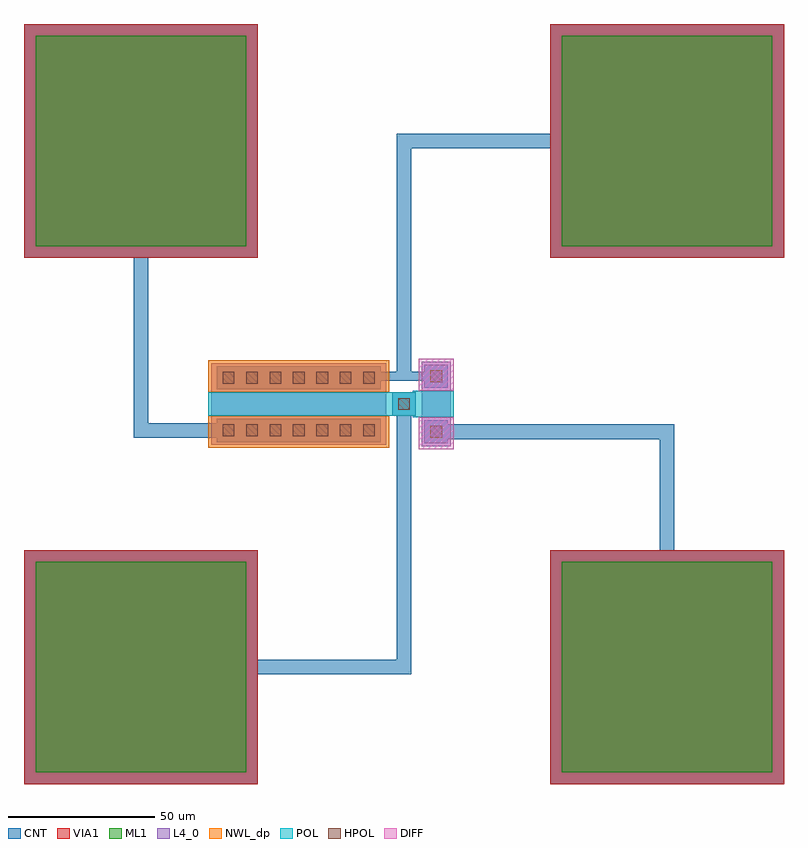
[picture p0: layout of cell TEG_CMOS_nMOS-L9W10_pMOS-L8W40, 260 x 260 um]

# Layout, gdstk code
import gdstk
lib = gdstk.Library(unit=1e-6, precision=1e-09)
def R(c, l, rs):  # rectangles x0, y0, x1, y1
    for r in rs: c.add(gdstk.rectangle(r[:2], r[2:], *l))
NWL_dp = (2, 0)
DIFF = (3, 0)
L4_0 = (4, 0)
POL = (5, 0)
HPOL = (6, 0)
CNT = (7, 0)
ML1 = (8, 0)
VIA1 = (9, 0)

cont_sd_4um = lib.new_cell('CONT_SD-4um')
R(cont_sd_4um, HPOL, [(-2,-2,2,2)])
R(cont_sd_4um, CNT, [(-4,-4,4,4)])

nmos_l9w10 = lib.new_cell('nMOS-L9W10')
R(nmos_l9w10, DIFF, [(-6,-15.5,6,-4.5), (-6,4.5,6,15.5)])
R(nmos_l9w10, L4_0, [(-5,-14.5,5,14.5)])
R(nmos_l9w10, POL, [(-6,-4.5,6,4.5)])
r = gdstk.Reference(cont_sd_4um, (0,-9.5)); r.repetition = gdstk.Repetition(1, 2, v1=(0,0), v2=(0,19)); nmos_l9w10.add(r)

pmos_l8w40 = lib.new_cell('pMOS-L8W40')
R(pmos_l8w40, NWL_dp, [(-31,-15,31,-4), (-31,4,31,15)])
R(pmos_l8w40, L4_0, [(-30,-14,30,14)])
R(pmos_l8w40, POL, [(-31,-4,31,4)])
r = gdstk.Reference(cont_sd_4um, (-24,-9)); r.repetition = gdstk.Repetition(7, 2, v1=(8,0), v2=(0,18)); pmos_l8w40.add(r)

cont_g_4um = lib.new_cell('CONT_G-4um')
R(cont_g_4um, POL, [(-4,-4,4,4)])
R(cont_g_4um, HPOL, [(-2,-2,2,2)])
R(cont_g_4um, CNT, [(-4,-4,4,4)])

cmos_nmos_l9w10_pmos_l8w = lib.new_cell('CMOS_nMOS-L9W10_pMOS-L8W40')
R(cmos_nmos_l9w10_pmos_l8w, POL, [(3,-4.5,6,4.5), (-7,-4,-3,4)])
cmos_nmos_l9w10_pmos_l8w.add(gdstk.Reference(nmos_l9w10, (11,0)))
cmos_nmos_l9w10_pmos_l8w.add(gdstk.Reference(pmos_l8w40, (-36,0)))
cmos_nmos_l9w10_pmos_l8w.add(gdstk.Reference(cont_g_4um, (0,0)))

probing_pad = lib.new_cell('Probing-Pad')
R(probing_pad, CNT, [(-40,-40,40,40)])
R(probing_pad, ML1, [(-36,-36,36,36)])
R(probing_pad, VIA1, [(-40,-40,40,40)])

teg_cmos_nmos_l9w10_pmos = lib.new_cell('TEG_CMOS_nMOS-L9W10_pMOS-L8W40')
teg_cmos_nmos_l9w10_pmos.add(gdstk.FlexPath([(14,-9.5),(90,-9.5),(90,-51)], 5, ends="flush", simple_path=True, layer=7, datatype=0))  # CNT
teg_cmos_nmos_l9w10_pmos.add(gdstk.FlexPath([(0,10),(0,90),(51,90)], 5, ends="flush", simple_path=True, layer=7, datatype=0))  # CNT
teg_cmos_nmos_l9w10_pmos.add(gdstk.FlexPath([(0,-3),(0,-90),(-51,-90)], 5, ends="flush", simple_path=True, layer=7, datatype=0))  # CNT
teg_cmos_nmos_l9w10_pmos.add(gdstk.FlexPath([(-9,9.5),(8,9.5)], 3, ends="flush", simple_path=True, layer=7, datatype=0))  # CNT
teg_cmos_nmos_l9w10_pmos.add(gdstk.FlexPath([(-63,-9),(-90,-9),(-90,51)], 5, ends="flush", simple_path=True, layer=7, datatype=0))  # CNT
teg_cmos_nmos_l9w10_pmos.add(gdstk.Reference(cmos_nmos_l9w10_pmos_l8w, (0,0)))
r = gdstk.Reference(probing_pad, (-90,-90)); r.repetition = gdstk.Repetition(2, 2, v1=(180,0), v2=(0,180)); teg_cmos_nmos_l9w10_pmos.add(r)

lib.write_gds('TEG_CMOS_nMOS-L9W10_pMOS-L8W40.gds')
